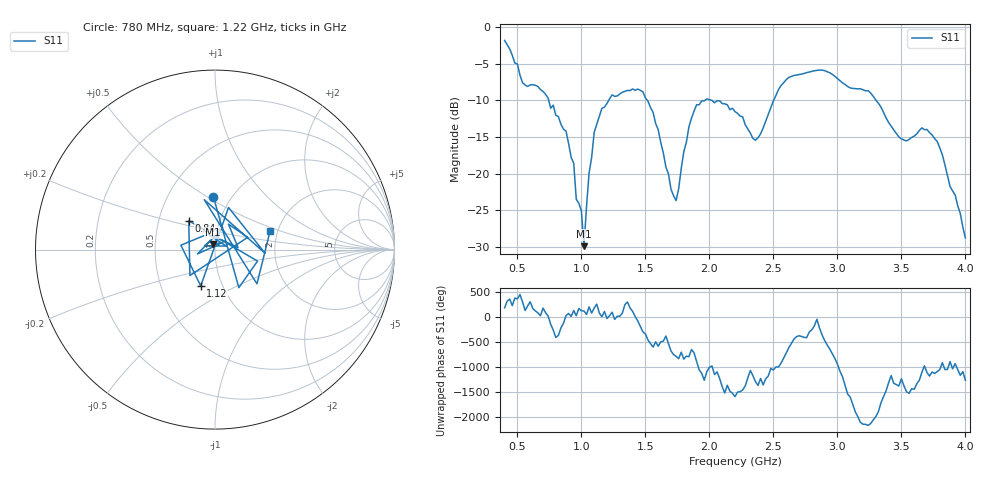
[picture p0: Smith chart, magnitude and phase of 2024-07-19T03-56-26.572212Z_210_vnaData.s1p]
!Created with skrf (http://scikit-rf.org).
# Hz S RI R 50.0
!freq ReS11 ImS11
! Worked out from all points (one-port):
!   181 points, 400 MHz to 4 GHz, reference 50 ohm
!   lowest |S11| = -29.9 dB at 1.02 GHz (marker M1), VSWR 1.07, Z = 48.7 + j2.88 ohm
!   |S11| at or under -10 dB: 744.6 MHz to 1.213 GHz (468.5 MHz wide, 47.9 % of centre); 2.02 GHz to 2.502 GHz (481.4 MHz wide, 21.3 % of centre); 3.303 GHz to end of sweep (the widest 3 of 4)
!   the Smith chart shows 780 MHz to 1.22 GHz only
!   S11 on the Smith chart (normalised r, x): 780 MHz: 0.83, +0.53; 840 MHz: 0.71, +0.24; 1.12 GHz: 0.79, -0.34; 1.22 GHz: 1.82, +0.42
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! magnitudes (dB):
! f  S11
! 400 MHz  -1.8
! 540 MHz  -7.6
! 780 MHz  -10.7
! 840 MHz  -13.3
! 860 MHz  -13.9
! 940 MHz  -18.6
! 960 MHz  -23.5
! 1 GHz  -25.1
! 1.02 GHz  -29.9
! 1.06 GHz  -19.9
! 1.12 GHz  -13.2
! 1.22 GHz  -9.8
! 1.3 GHz  -9.1
! 1.48 GHz  -8.8
! 1.6 GHz  -14.0
! 1.7 GHz  -22.1
! 1.76 GHz  -22.1
! 1.84 GHz  -13.6
! 1.9 GHz  -10.6
! 2.2 GHz  -11.5
! 2.36 GHz  -15.4
! 2.66 GHz  -6.6
! 3.1 GHz  -8.3
! 3.24 GHz  -8.7
! 3.56 GHz  -15.3
! 3.66 GHz  -13.8
! 3.78 GHz  -15.6
! 4 GHz  -28.8
